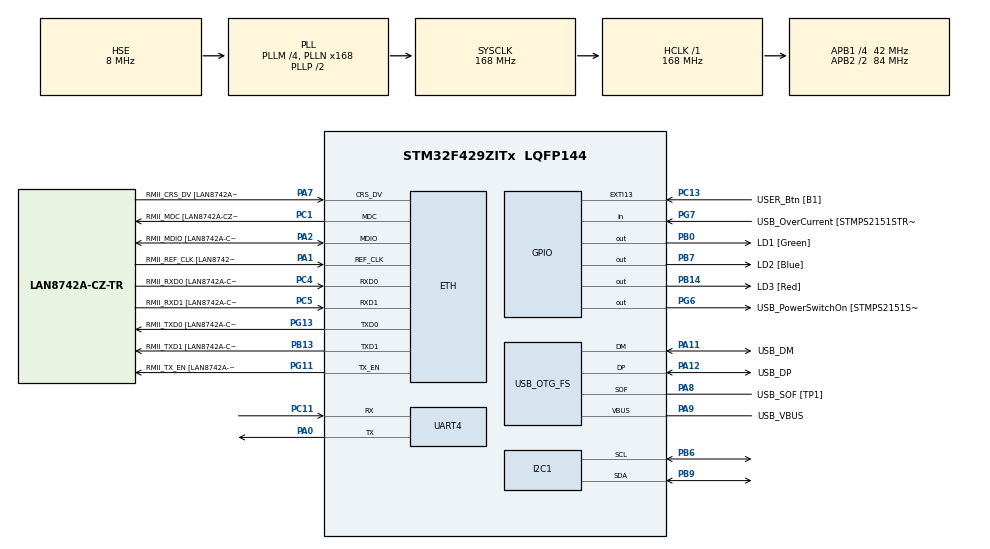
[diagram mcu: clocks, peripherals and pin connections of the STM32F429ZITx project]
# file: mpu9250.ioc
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ETH.MediaInterface=HAL_ETH_RMII_MODE
ETH.PHY_Name=LAN8742A_PHY_ADDRESS
ETH.PHY_Value=0
ETH.PhyAddress=0
I2C1.DutyCycle=I2C_DUTYCYCLE_16_9
I2C1.I2C_Mode=I2C_Fast
Mcu.Family=STM32F4
Mcu.Name=STM32F429ZITx
Mcu.Package=LQFP144
NVIC.I2C1_ER_IRQn=true\:0\:0\:false\:false\:true\:true\:true\:true
NVIC.I2C1_EV_IRQn=true\:0\:0\:false\:false\:true\:true\:true\:true
NVIC.PriorityGroup=NVIC_PRIORITYGROUP_4
NVIC.UART4_IRQn=true\:0\:0\:false\:false\:true\:true\:true\:true
PA0/WKUP.Mode=Asynchronous
PA0/WKUP.Signal=UART4_TX
PA1.GPIO_Label=RMII_REF_CLK [LAN8742A-CZ-TR_REFCLK0]
PA1.Mode=RMII
PA1.Signal=ETH_REF_CLK
PA10.GPIO_Label=USB_ID
PA10.Signal=USB_OTG_FS_ID
PA11.GPIO_Label=USB_DM
PA11.Mode=Device_Only
PA11.Signal=USB_OTG_FS_DM
PA12.GPIO_Label=USB_DP
PA12.Mode=Device_Only
PA12.Signal=USB_OTG_FS_DP
PA13.GPIO_Label=TMS
PA13.Mode=Serial_Wire
PA13.Signal=SYS_JTMS-SWDIO
PA14.GPIO_Label=TCK
PA14.Mode=Serial_Wire
PA14.Signal=SYS_JTCK-SWCLK
PA2.GPIO_Label=RMII_MDIO [LAN8742A-CZ-TR_MDIO]
PA2.Mode=RMII
PA2.Signal=ETH_MDIO
PA7.GPIO_Label=RMII_CRS_DV [LAN8742A-CZ-TR_CRS_DV]
PA7.Mode=RMII
PA7.Signal=ETH_CRS_DV
PA8.GPIO_Label=USB_SOF [TP1]
PA8.Mode=Activate_SOF_FS
PA8.Signal=USB_OTG_FS_SOF
PA9.GPIO_Label=USB_VBUS
PA9.Mode=Activate_VBUS
PA9.Signal=USB_OTG_FS_VBUS
PB0.GPIO_Label=LD1 [Green]
PB0.Signal=GPIO_Output
PB13.GPIO_Label=RMII_TXD1 [LAN8742A-CZ-TR_TXD1]
PB13.Mode=RMII
PB13.Signal=ETH_TXD1
PB14.GPIO_Label=LD3 [Red]
PB14.Signal=GPIO_Output
PB6.Mode=I2C
PB6.Signal=I2C1_SCL
PB7.GPIO_Label=LD2 [Blue]
PB7.Signal=GPIO_Output
PB9.Mode=I2C
PB9.Signal=I2C1_SDA
PC1.GPIO_Label=RMII_MDC [LAN8742A-CZ-TR_MDC]
PC1.Mode=RMII
PC1.Signal=ETH_MDC
PC11.Mode=Asynchronous
PC11.Signal=UART4_RX
PC13.GPIO_Label=USER_Btn [B1]
PC13.Signal=GPXTI13
PC14/OSC32_IN.Mode=LSE-External-Oscillator
PC14/OSC32_IN.Signal=RCC_OSC32_IN
PC15/OSC32_OUT.Mode=LSE-External-Oscillator
PC15/OSC32_OUT.Signal=RCC_OSC32_OUT
PC4.GPIO_Label=RMII_RXD0 [LAN8742A-CZ-TR_RXD0]
PC4.Mode=RMII
PC4.Signal=ETH_RXD0
PC5.GPIO_Label=RMII_RXD1 [LAN8742A-CZ-TR_RXD1]
PC5.Mode=RMII
PC5.Signal=ETH_RXD1
PD8.GPIO_Label=STLK_RX [STM32F103CBT6_PA3]
PD8.Signal=USART3_TX
PD9.GPIO_Label=STLK_TX [STM32F103CBT6_PA2]
PD9.Signal=USART3_RX
PG11.GPIO_Label=RMII_TX_EN [LAN8742A-CZ-TR_TXEN]
PG11.Mode=RMII
PG11.Signal=ETH_TX_EN
PG13.GPIO_Label=RMII_TXD0 [LAN8742A-CZ-TR_TXD0]
PG13.Mode=RMII
PG13.Signal=ETH_TXD0
PG6.GPIO_Label=USB_PowerSwitchOn [STMPS2151STR_EN]
PG6.Signal=GPIO_Output
PG7.GPIO_Label=USB_OverCurrent [STMPS2151STR_FAULT]
PG7.Signal=GPIO_Input
PH0/OSC_IN.GPIO_Label=MCO [STM32F103CBT6_PA8]
PH0/OSC_IN.Mode=HSE-External-Clock-Source
PH0/OSC_IN.Signal=RCC_OSC_IN
PH1/OSC_OUT.Mode=HSE-External-Clock-Source
PH1/OSC_OUT.Signal=RCC_OSC_OUT
ProjectManager.HeapSize=0x200
ProjectManager.StackSize=0x400
ProjectManager.TargetToolchain=STM32CubeIDE
RCC.48MHZClocksFreq_Value=48000000
RCC.AHBFreq_Value=168000000
RCC.APB1CLKDivider=RCC_HCLK_DIV4
RCC.APB1Freq_Value=42000000
RCC.APB1TimFreq_Value=84000000
RCC.APB2CLKDivider=RCC_HCLK_DIV2
RCC.APB2Freq_Value=84000000
RCC.APB2TimCLKDivider=2
RCC.APB2TimFreq_Value=168000000
RCC.CortexFreq_Value=168000000
RCC.HCLKFreq_Value=168000000
RCC.HSE_VALUE=8000000
RCC.HSI_VALUE=16000000
RCC.PLLM=4
RCC.PLLMUL=RCC_PLL_MUL9
RCC.PLLN=168
RCC.PLLQ=7
RCC.PRESCALERUSB=RCC_USBCLKSOURCE_PLL_DIV1_5
RCC.SYSCLKFreq_VALUE=168000000
RCC.SYSCLKSource=RCC_SYSCLKSOURCE_PLLCLK
RCC.SYSCLKSourceVirtual=RCC_SYSCLKSOURCE_PLLCLK
RCC.USBFreq_Value=48000000
RCC.VCOOutputFreq_Value=336000000
UART4.VirtualMode=Asynchronous
USB_OTG_FS.VirtualMode=Device_Only
board=NUCLEO-F429ZI

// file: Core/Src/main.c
/* USER CODE BEGIN Header */
/**
  ******************************************************************************
  * @file           : main.c
  * @brief          : Main program body
  ******************************************************************************
  * @attention
  *
  * Copyright (c) 2024 STMicroelectronics.
  * All rights reserved.
  *
  * This software is licensed under terms that can be found in the LICENSE file
  * in the root directory of this software component.
  * If no LICENSE file comes with this software, it is provided AS-IS.
  *
  ******************************************************************************
  */
/* USER CODE END Header */
#include "main.h"
#include "string.h"

/* USER CODE BEGIN Includes */
#include "MPU9250_reg.h"
#include "string.h"
#include <stdio.h>
/* USER CODE END Includes */

ETH_TxPacketConfig TxConfig;
ETH_DMADescTypeDef  DMARxDscrTab[ETH_RX_DESC_CNT]; /* Ethernet Rx DMA Descriptors */
ETH_DMADescTypeDef  DMATxDscrTab[ETH_TX_DESC_CNT]; /* Ethernet Tx DMA Descriptors */

ETH_HandleTypeDef heth;

I2C_HandleTypeDef hi2c1;

UART_HandleTypeDef huart4;

PCD_HandleTypeDef hpcd_USB_OTG_FS;

/* USER CODE BEGIN PV */
float destination_a[3] = { 0, };
float destination_g[3] = { 0, };
int16_t destination_m[3] = { 0, };
uint8_t counter = 0;
char mass[50];
uint8_t flag = 0;
uint8_t flag_t = 1;
uint8_t receive_bayte ;
char buf[36] = { 0, };
uint8_t sw[4] = { 0x02, 0x00, 0xA6, 0xBD };
float data[9];

/* USER CODE END PV */

void SystemClock_Config(void);
static void MX_GPIO_Init(void);
static void MX_ETH_Init(void);
static void MX_I2C1_Init(void);
static void MX_USB_OTG_FS_PCD_Init(void);
static void MX_UART4_Init(void);

/* USER CODE BEGIN 0 */
void MPU_init(void) {

	uint8_t R;
	uint8_t c;

	HAL_I2C_Mem_Write(&hi2c1, MPU9250_ADDRESS_W, PWR_MGMT_1, 1, 0x00, 1, 100); // Clear sleep mode bit (6), enable all sensors
	HAL_Delay(100);
	R = 0x01;
	HAL_I2C_Mem_Write(&hi2c1, MPU9250_ADDRESS_W, PWR_MGMT_1, 1, &R, 1, 100); // Set clock source to be PLL with x-axis gyroscope reference, bits 2:0 = 001

	// Configure Gyro and Accelerometer
	// Disable FSYNC and set accelerometer and gyro bandwidth to 44 and 42 Hz, respectively;
	// DLPF_CFG = bits 2:0 = 010; this sets the sample rate at 1 kHz for both
	// Maximum delay is 4.9 ms which is just over a 200 Hz maximum rate
	R = 0x00;
	HAL_I2C_Mem_Write(&hi2c1, MPU9250_ADDRESS_W, CONFIG, 1, &R, 1, 100);

	// Set sample rate = gyroscope output rate/(1 + SMPLRT_DIV)
	R = 0x01;
	HAL_I2C_Mem_Write(&hi2c1, MPU9250_ADDRESS_W, SMPLRT_DIV, 1, &R, 1, 100); // Use a 200 Hz rate; the same rate set in CONFIG above

	// Set gyroscope full scale range
	// Range selects FS_SEL and AFS_SEL are 0 - 3, so 2-bit values are left-shifted into positions 4:3
	HAL_I2C_Mem_Read(&hi2c1, MPU9250_ADDRESS_R, GYRO_CONFIG, 1, &c, 6, 100); // get current GYRO_CONFIG register value
	c = c & ~0xE0; // Clear self-test bits [7:5]
	c = c & ~0x02; // Clear Fchoice bits [1:0]
	c = c & ~0x18; // Clear AFS bits [4:3]
	c = c | 0 << 3; // Set full scale range for the gyro - 0=+250dps
	c = c| 0x00; // Set Fchoice for the gyro to 11 by writing its inverse to bits 1:0 of GYRO_CONFIG
	HAL_I2C_Mem_Write(&hi2c1, MPU9250_ADDRESS_W, GYRO_CONFIG, 1, &c, 1, 100); // Write new GYRO_CONFIG value to register

   // Set accelerometer full-scale range configuration
	HAL_I2C_Mem_Read(&hi2c1, MPU9250_ADDRESS_R, ACCEL_CONFIG, 1, &c, 6, 100); // get current ACCEL_CONFIG register value
	 c = c & ~0xE0; // Clear self-test bits [7:5]
	c = c & ~0x18; // Clear AFS bits [4:3]
	c = c | 0 << 3; // Set full scale range for the accelerometer  - 0=2g
	HAL_I2C_Mem_Write(&hi2c1, MPU9250_ADDRESS_W, ACCEL_CONFIG, 1, &c, 1, 100); // Write new ACCEL_CONFIG register value

	 // Set accelerometer sample rate configuration
	 // It is possible to get a 4 kHz sample rate from the accelerometer by choosing 1 for
	 // accel_fchoice_b bit [3]; in this case the bandwidth is 1.13 kHz
	HAL_I2C_Mem_Read(&hi2c1, MPU9250_ADDRESS_R, MPU9250_ACCEL_CONFIG_2, 1, &c, 6, 100); // get current ACCEL_CONFIG2 register value
	c = c & ~0x0F; // Clear accel_fchoice_b (bit 3) and A_DLPFG (bits [2:0])
	c = c | 0x03; // Set accelerometer rate to 1 kHz and bandwidth to 41 Hz
	HAL_I2C_Mem_Write(&hi2c1, MPU9250_ADDRESS_W, MPU9250_ACCEL_CONFIG_2, 1, &c, 1, 100); // Write new ACCEL_CONFIG2 register value

	// The accelerometer, gyro, and thermometer are set to 1 kHz sample rates,
	// but all these rates are further reduced by a factor of 5 to 200 Hz because of the SMPLRT_DIV setting

	// Configure Interrupts and Bypass Enable
   // Set interrupt pin active high, push-pull, and clear on read of INT_STATUS, enable I2C_BYPASS_EN so additional chips
   // can join the I2C bus and all can be controlled by the Arduino as master
	R = 0x22;
	HAL_I2C_Mem_Write(&hi2c1, MPU9250_ADDRESS_W, MPU9250_INT_PIN_CFG, 1, &R, 1, 100);
	R = 0x01;
	HAL_I2C_Mem_Write(&hi2c1, MPU9250_ADDRESS_W, MPU9250_INT_ENABLE, 1, &R, 1, 100); // Enable data ready (bit 0) interrupt

}

void MAGN_init(float * destination) {

	uint8_t R;
	uint8_t rawData[3]; // x/y/z gyro calibration data stored here

	// First extract the factory calibration for each magnetometer axis
	R = 0x00;
	HAL_I2C_Mem_Write(&hi2c1, AK8963_ADDRESS_W, AK8963_CNTL, 1, &R, 1, 100); // Power down magnetometer
	HAL_Delay(10);
	R = 0x0F;
	HAL_I2C_Mem_Write(&hi2c1, AK8963_ADDRESS_W, AK8963_CNTL, 1, &R, 1, 100); // Enter Fuse ROM access mode
	HAL_Delay(10);
	HAL_I2C_Mem_Read(&hi2c1, AK8963_ADDRESS_W, AK8963_ASAX, 1, rawData, 3, 100); // Read the x-, y-, and z-axis calibration values
	destination[0] =  (float)(rawData[0] - 128) / 256.0f + 1.0f; // Return x-axis sensitivity adjustment values, etc.
	destination[1] =  (float)(rawData[1] - 128) / 256.0f + 1.0f;
	destination[2] =  (float)(rawData[2] - 128) / 256.0f + 1.0f;
	R = 0x00;
	HAL_I2C_Mem_Write(&hi2c1, AK8963_ADDRESS_W, AK8963_CNTL, 1, &R, 1, 100); // Power down magnetometer
	HAL_Delay(10);
	// Configure the magnetometer for continuous read and highest resolution
	// set Mscale bit 4 to 1 (0) to enable 16 (14) bit resolution in CNTL register,
	// and enable continuous mode data acquisition Mmode (bits [3:0]), 0010 for 8 Hz and 0110 for 100 Hz sample rates
	R = 0 << 4 | 0x06;
	HAL_I2C_Mem_Write(&hi2c1, AK8963_ADDRESS_W, AK8963_CNTL, 1, &R, 1, 100); // Set magnetometer data resolution and sample ODR
	HAL_Delay(10);

	R = 0x40;
	HAL_I2C_Mem_Write(&hi2c1, AK8963_ADDRESS_W, AK8963_ASTC, 1, &R, 1, 100); // set self-test
}

void MPU_get_accel(float * destination) {

	uint8_t rawData[6];
	HAL_I2C_Mem_Read(&hi2c1, MPU9250_ADDRESS_R, MPU9250_ACCEL_XOUT_H, 1, rawData, 6,100);
	destination[0] = (float)(int16_t)(((int16_t)rawData[0] << 8) | rawData[1]) / 16384 * 9.8; // Turn the MSB and LSB into a signed 16-bit value
	destination[1] = (float)(int16_t)(((int16_t)rawData[2] << 8) | rawData[3]) / 16384 * 9.8;
	destination[2] = (float)(int16_t)(((int16_t)rawData[4] << 8) | rawData[5]) / 16384 * 9.8;
}

void MPU_get_gyro(float * destination) {

	uint8_t rawData[6]; // x/y/z gyro register data stored here
	HAL_I2C_Mem_Read(&hi2c1, MPU9250_ADDRESS_R, MPU9250_GYRO_XOUT_H, 1, rawData, 6,100); // Read the six raw data registers sequentially into data array
	destination[0] = (float)(int16_t)(((int16_t)rawData[0] << 8) | rawData[1]) / 131; // Turn the MSB and LSB into a signed 16-bit value
	destination[1] = (float)(int16_t)(((int16_t)rawData[2] << 8) | rawData[3]) / 131;
	destination[2] = (float)(int16_t)(((int16_t)rawData[4] << 8) | rawData[5]) / 131;
}

void MPU_get_magn(int16_t * destination) {
	uint8_t rawData[7]; // x/y/z gyro register data, ST2 register stored here, must read ST2 at end of data acquisition
	uint8_t c;
	HAL_I2C_Mem_Read(&hi2c1, AK8963_ADDRESS_R, AK8963_ST1, 1, &c, 1,10);
	if (c >= 0x01) {
		// wait for magnetometer data ready bit to be set
		HAL_I2C_Mem_Read(&hi2c1, AK8963_ADDRESS_R, AK8963_XOUT_L, 1, rawData, 7,10); // Read the six raw data and ST2 registers sequentially into data array
		c = rawData[6]; // End data read by reading ST2 register
		if (!(c & 0x08)) {
			// Check if magnetic sensor overflow set, if not then report data
			destination[0] = (int16_t)(((int16_t)rawData[1] << 8) | rawData[0]); // Turn the MSB and LSB into a signed 16-bit value
			destination[1] = (int16_t)(((int16_t)rawData[3] << 8) | rawData[2]); // Data stored as little Endian
			destination[2] = (int16_t)(((int16_t)rawData[5] << 8) | rawData[4]);

		}
	}

}

void HAL_UART_RxCpltCallback(UART_HandleTypeDef *huart)
{
	if (huart == &huart4)
	{
		//HAL_UART_Transmit(&huart4,&receive_bayte, 1, 100);
		if (receive_bayte == 'r') {
			flag = 1;
			//snprintf(buf, 20, "%d %d %d %d ", sw[0], sw[1], sw[2], sw[3]);
			//HAL_UART_Transmit(&huart4, (uint8_t *)buf, sizeof(buf), 1000);
		}
		if (receive_bayte == 's')
		{
			flag = 0;

		}
	}
	HAL_UART_Receive_IT(&huart4, &receive_bayte, 1);
}

void HAL_UART_TxCpltCallback(UART_HandleTypeDef *huart)
{
	if (huart == &huart4)
	{
		counter++;
		flag_t = 1;
		// можно установить какой-то флаг, сообщающий об окончании отправки
	}
}

void set_data()
{
	for (int i = 0; i < 3; i++)
	{
		data[i] = destination_m[i];
	}
	for (int i = 0; i < 3; i++)
	{
		data[i + 3] = destination_a[i];
	}
	for (int i = 0; i < 3; i++)
	{
		data[i + 6] = destination_g[i];
	}

}
/* USER CODE END 0 */

int main(void)
{

  /* MCU Configuration--------------------------------------------------------*/

  /* Reset of all peripherals, Initializes the Flash interface and the Systick. */
  HAL_Init();

  /* Configure the system clock */
  SystemClock_Config();

  /* Initialize all configured peripherals */
  MX_GPIO_Init();
  MX_ETH_Init();
  MX_I2C1_Init();
  MX_USB_OTG_FS_PCD_Init();
  MX_UART4_Init();
  /* USER CODE BEGIN 2 */

	//uint32_t a = 3181772803;

	//HAL_UART_Receive_IT(&huart4, &receive_bayte, 1);

	MPU_init();
	MAGN_init((float*)destination_m);
	MPU_get_gyro(destination_g);
	MPU_get_accel(destination_a);
	MPU_get_magn(destination_m);
	set_data();
	HAL_UART_Receive_IT(&huart4, &receive_bayte, 1);

  /* USER CODE END 2 */

  /* Infinite loop */
  /* USER CODE BEGIN WHILE */
  while (1)
  {

//	  strcpy(mass, "MAX ADC\r\n\0");
//	  HAL_UART_Transmit(&huart4, (uint8_t*)mass, strlen(mass), 100);
//	  HAL_Delay(100);
	  //counter++;
	  if (flag == 1)
	  {
		  // flag = 0;

			 // flag_t = 0;
		  HAL_UART_Transmit_IT(&huart4, sw, 4);
		  HAL_Delay(10);
		  // flag_t = 0;
		  HAL_UART_Transmit_IT(&huart4, (uint8_t*)data, sizeof(data));
		  HAL_Delay(10);
		  //HAL_UART_Receive_IT(&huart4, &receive_bayte, 1);

		  //		  HAL_UART_Transmit_IT(&huart4, sw, 4);
		  //		  HAL_Delay(10);
		  //		  HAL_UART_Transmit_IT(&huart4,(uint8_t*)data, sizeof(data));
		  //		  HAL_Delay(10);
		  //		  snprintf(buf, 36, "%f ", destination_a[0]);
		  //		  HAL_UART_Transmit(&huart4, (uint8_t*)buf, sizeof(buf), 100);
		  //		  HAL_Delay(100);

	  }
	  else
	  {
		  MPU_get_gyro(destination_g);
		  MPU_get_accel(destination_a);
		  MPU_get_magn(destination_m);
		  set_data();
	  }

    /* USER CODE END WHILE */

  }
}

void SystemClock_Config(void)
{
  RCC_OscInitTypeDef RCC_OscInitStruct = {0};
  RCC_ClkInitTypeDef RCC_ClkInitStruct = {0};

  /** Configure the main internal regulator output voltage
  */
  __HAL_RCC_PWR_CLK_ENABLE();
  __HAL_PWR_VOLTAGESCALING_CONFIG(PWR_REGULATOR_VOLTAGE_SCALE1);

  /** Initializes the RCC Oscillators according to the specified parameters
  * in the RCC_OscInitTypeDef structure.
  */
  RCC_OscInitStruct.OscillatorType = RCC_OSCILLATORTYPE_HSE;
  RCC_OscInitStruct.HSEState = RCC_HSE_BYPASS;
  RCC_OscInitStruct.PLL.PLLState = RCC_PLL_ON;
  RCC_OscInitStruct.PLL.PLLSource = RCC_PLLSOURCE_HSE;
  RCC_OscInitStruct.PLL.PLLM = 4;
  RCC_OscInitStruct.PLL.PLLN = 168;
  RCC_OscInitStruct.PLL.PLLP = RCC_PLLP_DIV2;
  RCC_OscInitStruct.PLL.PLLQ = 7;
  if (HAL_RCC_OscConfig(&RCC_OscInitStruct) != HAL_OK)
  {
    Error_Handler();
  }

  /** Initializes the CPU, AHB and APB buses clocks
  */
  RCC_ClkInitStruct.ClockType = RCC_CLOCKTYPE_HCLK|RCC_CLOCKTYPE_SYSCLK
                              |RCC_CLOCKTYPE_PCLK1|RCC_CLOCKTYPE_PCLK2;
  RCC_ClkInitStruct.SYSCLKSource = RCC_SYSCLKSOURCE_PLLCLK;
  RCC_ClkInitStruct.AHBCLKDivider = RCC_SYSCLK_DIV1;
  RCC_ClkInitStruct.APB1CLKDivider = RCC_HCLK_DIV4;
  RCC_ClkInitStruct.APB2CLKDivider = RCC_HCLK_DIV2;

  if (HAL_RCC_ClockConfig(&RCC_ClkInitStruct, FLASH_LATENCY_5) != HAL_OK)
  {
    Error_Handler();
  }
}

static void MX_ETH_Init(void)
{

   static uint8_t MACAddr[6];

  heth.Instance = ETH;
  MACAddr[0] = 0x00;
  MACAddr[1] = 0x80;
  MACAddr[2] = 0xE1;
  MACAddr[3] = 0x00;
  MACAddr[4] = 0x00;
  MACAddr[5] = 0x00;
  heth.Init.MACAddr = &MACAddr[0];
  heth.Init.MediaInterface = HAL_ETH_RMII_MODE;
  heth.Init.TxDesc = DMATxDscrTab;
  heth.Init.RxDesc = DMARxDscrTab;
  heth.Init.RxBuffLen = 1524;

  if (HAL_ETH_Init(&heth) != HAL_OK)
  {
    Error_Handler();
  }

  memset(&TxConfig, 0 , sizeof(ETH_TxPacketConfig));
  TxConfig.Attributes = ETH_TX_PACKETS_FEATURES_CSUM | ETH_TX_PACKETS_FEATURES_CRCPAD;
  TxConfig.ChecksumCtrl = ETH_CHECKSUM_IPHDR_PAYLOAD_INSERT_PHDR_CALC;
  TxConfig.CRCPadCtrl = ETH_CRC_PAD_INSERT;

}

static void MX_I2C1_Init(void)
{

  hi2c1.Instance = I2C1;
  hi2c1.Init.ClockSpeed = 400000;
  hi2c1.Init.DutyCycle = I2C_DUTYCYCLE_16_9;
  hi2c1.Init.OwnAddress1 = 0;
  hi2c1.Init.AddressingMode = I2C_ADDRESSINGMODE_7BIT;
  hi2c1.Init.DualAddressMode = I2C_DUALADDRESS_DISABLE;
  hi2c1.Init.OwnAddress2 = 0;
  hi2c1.Init.GeneralCallMode = I2C_GENERALCALL_DISABLE;
  hi2c1.Init.NoStretchMode = I2C_NOSTRETCH_DISABLE;
  if (HAL_I2C_Init(&hi2c1) != HAL_OK)
  {
    Error_Handler();
  }

  /** Configure Analogue filter
  */
  if (HAL_I2CEx_ConfigAnalogFilter(&hi2c1, I2C_ANALOGFILTER_ENABLE) != HAL_OK)
  {
    Error_Handler();
  }

  /** Configure Digital filter
  */
  if (HAL_I2CEx_ConfigDigitalFilter(&hi2c1, 0) != HAL_OK)
  {
    Error_Handler();
  }

}

static void MX_UART4_Init(void)
{

  huart4.Instance = UART4;
  huart4.Init.BaudRate = 115200;
  huart4.Init.WordLength = UART_WORDLENGTH_8B;
  huart4.Init.StopBits = UART_STOPBITS_1;
  huart4.Init.Parity = UART_PARITY_NONE;
  huart4.Init.Mode = UART_MODE_TX_RX;
  huart4.Init.HwFlowCtl = UART_HWCONTROL_NONE;
  huart4.Init.OverSampling = UART_OVERSAMPLING_16;
  if (HAL_UART_Init(&huart4) != HAL_OK)
  {
    Error_Handler();
  }

}

static void MX_USB_OTG_FS_PCD_Init(void)
{

  hpcd_USB_OTG_FS.Instance = USB_OTG_FS;
  hpcd_USB_OTG_FS.Init.dev_endpoints = 4;
  hpcd_USB_OTG_FS.Init.speed = PCD_SPEED_FULL;
  hpcd_USB_OTG_FS.Init.dma_enable = DISABLE;
  hpcd_USB_OTG_FS.Init.phy_itface = PCD_PHY_EMBEDDED;
  hpcd_USB_OTG_FS.Init.Sof_enable = ENABLE;
  hpcd_USB_OTG_FS.Init.low_power_enable = DISABLE;
  hpcd_USB_OTG_FS.Init.lpm_enable = DISABLE;
  hpcd_USB_OTG_FS.Init.vbus_sensing_enable = ENABLE;
  hpcd_USB_OTG_FS.Init.use_dedicated_ep1 = DISABLE;
  if (HAL_PCD_Init(&hpcd_USB_OTG_FS) != HAL_OK)
  {
    Error_Handler();
  }

}

static void MX_GPIO_Init(void)
{
  GPIO_InitTypeDef GPIO_InitStruct = {0};

  /* GPIO Ports Clock Enable */
  __HAL_RCC_GPIOC_CLK_ENABLE();
  __HAL_RCC_GPIOH_CLK_ENABLE();
  __HAL_RCC_GPIOA_CLK_ENABLE();
  __HAL_RCC_GPIOB_CLK_ENABLE();
  __HAL_RCC_GPIOD_CLK_ENABLE();
  __HAL_RCC_GPIOG_CLK_ENABLE();

  /*Configure GPIO pin Output Level */
  HAL_GPIO_WritePin(GPIOB, LD1_Pin|LD3_Pin|LD2_Pin, GPIO_PIN_RESET);

  /*Configure GPIO pin Output Level */
  HAL_GPIO_WritePin(USB_PowerSwitchOn_GPIO_Port, USB_PowerSwitchOn_Pin, GPIO_PIN_RESET);

  /*Configure GPIO pin : USER_Btn_Pin */
  GPIO_InitStruct.Pin = USER_Btn_Pin;
  GPIO_InitStruct.Mode = GPIO_MODE_IT_RISING;
  GPIO_InitStruct.Pull = GPIO_NOPULL;
  HAL_GPIO_Init(USER_Btn_GPIO_Port, &GPIO_InitStruct);

  /*Configure GPIO pins : LD1_Pin LD3_Pin LD2_Pin */
  GPIO_InitStruct.Pin = LD1_Pin|LD3_Pin|LD2_Pin;
  GPIO_InitStruct.Mode = GPIO_MODE_OUTPUT_PP;
  GPIO_InitStruct.Pull = GPIO_NOPULL;
  GPIO_InitStruct.Speed = GPIO_SPEED_FREQ_LOW;
  HAL_GPIO_Init(GPIOB, &GPIO_InitStruct);

  /*Configure GPIO pins : STLK_RX_Pin STLK_TX_Pin */
  GPIO_InitStruct.Pin = STLK_RX_Pin|STLK_TX_Pin;
  GPIO_InitStruct.Mode = GPIO_MODE_AF_PP;
  GPIO_InitStruct.Pull = GPIO_NOPULL;
  GPIO_InitStruct.Speed = GPIO_SPEED_FREQ_VERY_HIGH;
  GPIO_InitStruct.Alternate = GPIO_AF7_USART3;
  HAL_GPIO_Init(GPIOD, &GPIO_InitStruct);

  /*Configure GPIO pin : USB_PowerSwitchOn_Pin */
  GPIO_InitStruct.Pin = USB_PowerSwitchOn_Pin;
  GPIO_InitStruct.Mode = GPIO_MODE_OUTPUT_PP;
  GPIO_InitStruct.Pull = GPIO_NOPULL;
  GPIO_InitStruct.Speed = GPIO_SPEED_FREQ_LOW;
  HAL_GPIO_Init(USB_PowerSwitchOn_GPIO_Port, &GPIO_InitStruct);

  /*Configure GPIO pin : USB_OverCurrent_Pin */
  GPIO_InitStruct.Pin = USB_OverCurrent_Pin;
  GPIO_InitStruct.Mode = GPIO_MODE_INPUT;
  GPIO_InitStruct.Pull = GPIO_NOPULL;
  HAL_GPIO_Init(USB_OverCurrent_GPIO_Port, &GPIO_InitStruct);

}

void Error_Handler(void)
{
  __disable_irq();
  while (1)
  {
  }
}
